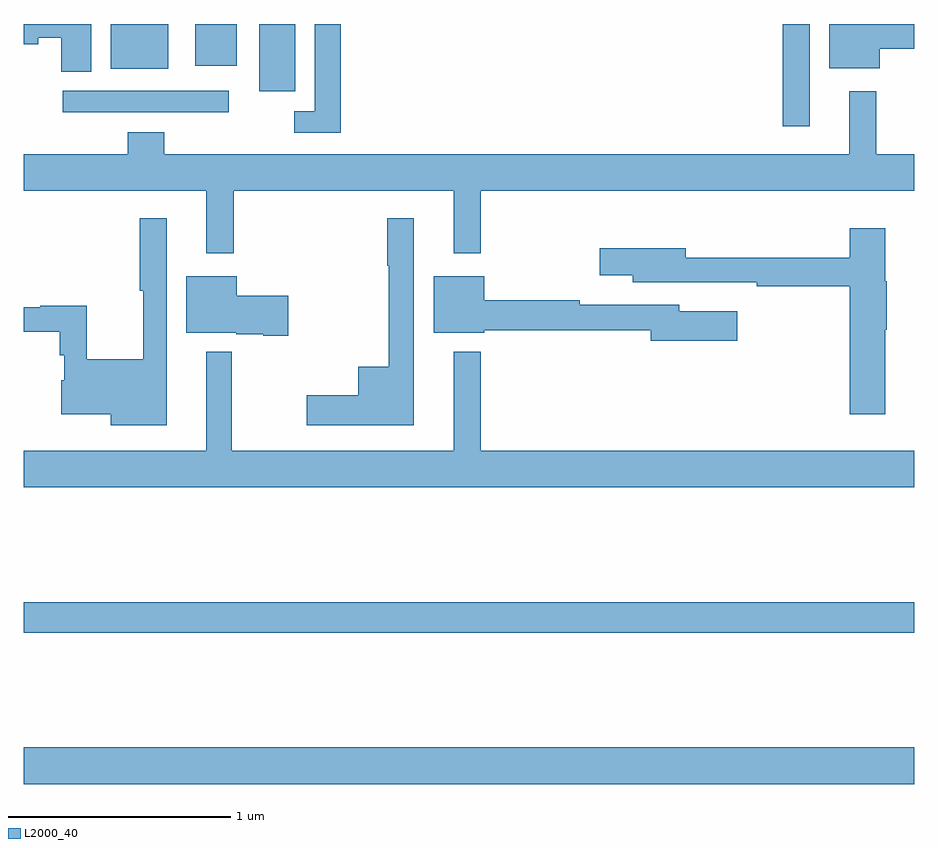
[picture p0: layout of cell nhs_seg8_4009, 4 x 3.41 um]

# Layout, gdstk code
import gdstk
lib = gdstk.Library(unit=1e-6, precision=1e-09)
def R(c, l, rs):  # rectangles x0, y0, x1, y1
    for r in rs: c.add(gdstk.rectangle(r[:2], r[2:], *l))
def P(c, l, *ps):  # polygons
    for p in ps: c.add(gdstk.Polygon(p, *l))
L2000_40 = (2000, 40)

nhs_seg8_4009 = lib.new_cell('nhs_seg8_4009')
R(nhs_seg8_4009, L2000_40, [(357,1128.488,361,1128.652), (357,1129.168,361,1129.304), (360.408,1131.441,360.529,1131.9), (357.177,1131.504,357.922,1131.6), (358.058,1131.599,358.219,1131.9), (357.392,1131.698,357.649,1131.9), (357.77,1131.713,357.958,1131.9)])
P(nhs_seg8_4009, L2000_40, [(358.424,1131.9),(358.308,1131.9),(358.308,1131.508),(358.215,1131.508),(358.215,1131.411),(358.424,1131.411)],
  [(357.304,1131.9),(357,1131.9),(357,1131.809),(357.066,1131.809),(357.066,1131.839),(357.17,1131.839),(357.17,1131.685),(357.304,1131.685)],
  [(360.844,1131.79),(361,1131.79),(361,1131.9),(360.617,1131.9),(360.617,1131.701),(360.844,1131.701)],
  [(357.943,1131.152),(358.931,1131.152),(358.931,1130.871),(359.053,1130.871),(359.053,1131.152),(361,1131.152),(361,1131.316),(360.829,1131.316),(360.829,1131.598),(360.707,1131.598),(360.707,1131.316),(357.632,1131.316),(357.632,1131.415),(357.467,1131.415),(357.467,1131.316),(357,1131.316),(357,1131.152),(357.821,1131.152),(357.821,1130.871),(357.943,1130.871)],
  [(358.753,1131.028),(358.632,1131.028),(358.632,1130.815),(358.639,1130.815),(358.639,1130.362),(358.502,1130.362),(358.502,1130.234),(358.272,1130.234),(358.272,1130.099),(358.753,1130.099)],
  [(357.643,1131.028),(357.522,1131.028),(357.522,1130.703),(357.537,1130.703),(357.537,1130.395),(357.284,1130.395),(357.284,1130.636),(357.076,1130.636),(357.076,1130.629),(357,1130.629),(357,1130.519),(357.163,1130.519),(357.163,1130.412),(357.182,1130.412),(357.182,1130.301),(357.17,1130.301),(357.17,1130.147),(357.392,1130.147),(357.392,1130.099),(357.643,1130.099)],
  [(360.868,1130.527),(360.876,1130.527),(360.876,1130.745),(360.868,1130.745),(360.868,1130.983),(360.71,1130.983),(360.71,1130.851),(359.974,1130.851),(359.974,1130.893),(359.586,1130.893),(359.586,1130.771),(359.735,1130.771),(359.735,1130.741),(360.292,1130.741),(360.292,1130.722),(360.71,1130.722),(360.71,1130.148),(360.868,1130.148)],
  [(358.189,1130.679),(357.958,1130.679),(357.958,1130.767),(357.731,1130.767),(357.731,1130.513),(357.954,1130.513),(357.954,1130.507),(358.076,1130.507),(358.076,1130.501),(358.189,1130.501)],
  [(360.205,1130.611),(359.944,1130.611),(359.944,1130.64),(359.498,1130.64),(359.498,1130.66),(359.068,1130.66),(359.068,1130.767),(358.841,1130.767),(358.841,1130.513),(359.068,1130.513),(359.068,1130.524),(359.816,1130.524),(359.816,1130.477),(360.205,1130.477)],
  [(361,1129.984),(359.053,1129.984),(359.053,1130.428),(358.931,1130.428),(358.931,1129.984),(357.935,1129.984),(357.935,1130.428),(357.821,1130.428),(357.821,1129.984),(357,1129.984),(357,1129.82),(361,1129.82)])

lib.write_gds('nhs_seg8_4009.gds')
